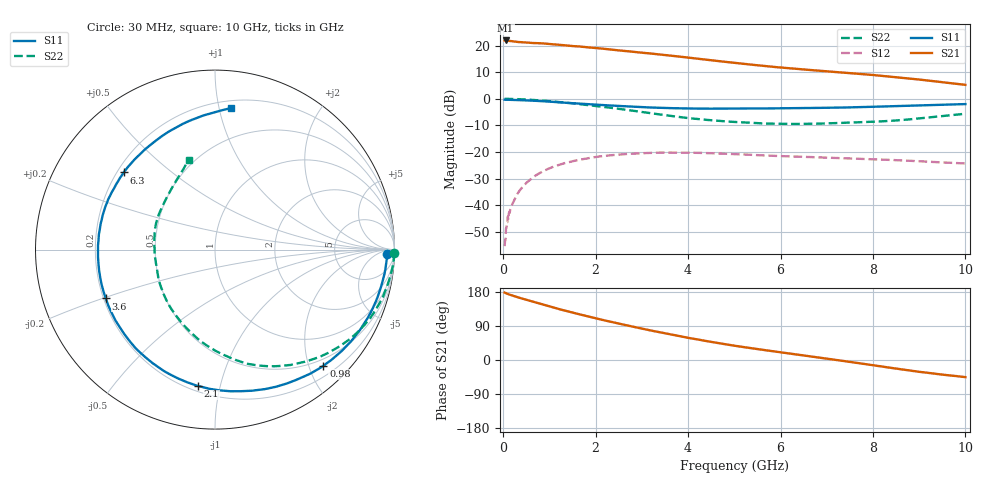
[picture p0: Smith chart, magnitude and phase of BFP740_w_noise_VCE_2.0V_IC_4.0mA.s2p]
! Infineon Technologies  Discrete & RF Semiconductors
! BFP740
! VCE =  2.0 V,  IC =  4.0 mA
! Common Emitter S-Parameters:  Jan 2016
# GHz  S  MA  R  50
!  f  S11  S21  S12  S22
! GHz  MAG  ANG  MAG  ANG  MAG  ANG  MAG  ANG
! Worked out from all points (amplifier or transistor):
!   229 points, 30 MHz to 10 GHz, reference 50 ohm
!   highest |S21| = 21.9 dB at 50 MHz (marker M1)
!   |S21| within 3 dB of that: start of sweep to 2.104 GHz
!   unconditionally stable (mu >= 1): 8.047 GHz to end of sweep
!   at 280 MHz: K = 0.08, MSG = 29.0 dB, |S12| = -36.6 dB
!   at 1.78 GHz: K = 0.21, MSG = 20.9 dB, |S12| = -22.5 dB
!   at 10 GHz: K = 1.21, MAG = 12.0 dB, |S12| = -24.3 dB
!   lowest NFmin = 0.45 dB at 450 MHz
!   S11 on the Smith chart (normalised r, x): 30 MHz: 34, -22; 980 MHz: 0.38, -2.25; 2.1 GHz: 0.23, -0.86; 3.6 GHz: 0.21, -0.20; 6.3 GHz: 0.23, +0.35; 10 GHz: 0.25, +1.09
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0.03  0.9593 -1.5  12.4 177.8  0.0017 69.9  0.9991 -1.1
0.04  0.9599 -2.0  12.29 177.2  0.0022 74.7  0.9988 -1.5
0.05  0.9613 -2.4  12.45 177.0  0.0023 96.1  0.9978 -1.8
0.06  0.9588 -3.1  12.33 176.2  0.0037 67.2  0.9977 -2.1
0.13  0.9559 -6.6  12.21 172.8  0.0074 81.4  0.9954 -4.6
0.26  0.9477 -12.9  11.84 167.5  0.0135 81.6  0.9871 -9.0
0.45  0.9356 -21.9  11.48 160.6  0.0235 75.4  0.9731 -15.4
0.8  0.9042 -38.7  11.04 148.3  0.0406 64.8  0.9319 -26.9
0.98  0.885 -47.0  10.71 142.2  0.0485 59.1  0.9054 -32.7
1.2  0.8579 -57.2  10.35 134.5  0.0571 52.7  0.8686 -39.7
1.7  0.8021 -79.6  9.515 118.9  0.073 39.9  0.7834 -54.0
2.1  0.7664 -97.0  8.818 107.1  0.0828 30.2  0.714 -65.5
2.78  0.7118 -124.4  7.674 88.6  0.0926 16.0  0.5986 -83.5
3.4  0.6752 -148.5  6.766 72.8  0.0972 4.4  0.5066 -100.9
3.6  0.6667 -155.9  6.488 67.9  0.0974 1.0  0.4792 -106.6
4.2  0.6532 -176.1  5.67 54.1  0.0962 -8.4  0.416 -124.3
5.1  0.6548 160.5  4.632 35.9  0.0904 -19.1  0.3624 -147.4
6.3  0.666 139.8  3.667 15.4  0.082 -28.4  0.336 -175.1
6.8  0.6731 131.8  3.377 7.0  0.0794 -31.6  0.3403 173.4
8.4  0.723 104.4  2.593 -20.9  0.0708 -40.0  0.3857 137.1
9  0.7503 94.9  2.296 -31.2  0.067 -42.6  0.4269 122.9
10  0.7935 83.6  1.824 -45.2  0.0609 -43.1  0.523 106.3
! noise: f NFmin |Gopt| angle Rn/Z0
0.45  0.45  0.46  11  0.27
0.9  0.45  0.46  18  0.26
1.5  0.49  0.45  27  0.25
1.9  0.53  0.43  43  0.24
2.4  0.55  0.43  48  0.23
3.5  0.67  0.39  70  0.21
5.5  0.9  0.28  159  0.19
10  1.62  0.57  -84  0.25
